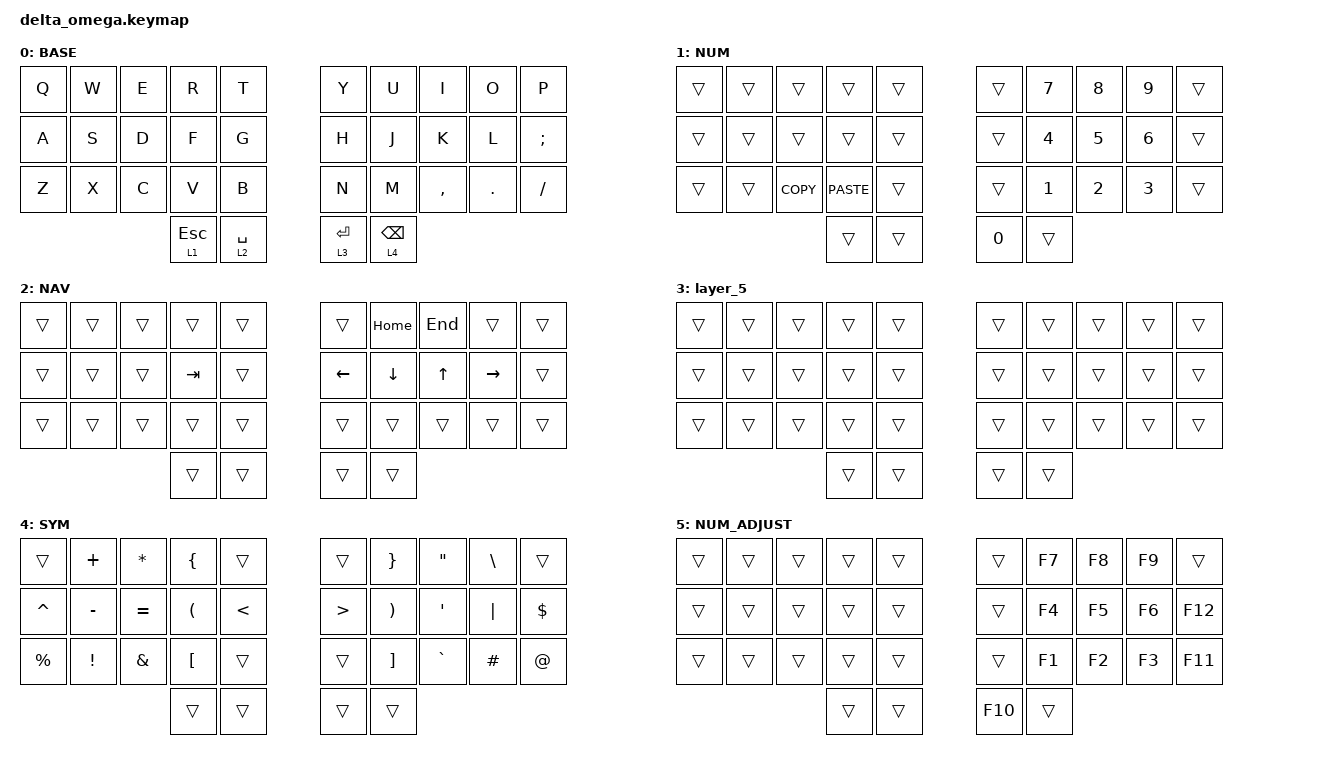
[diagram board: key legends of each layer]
#include <behaviors.dtsi>
#include <dt-bindings/zmk/keys.h>

/ {
    keymap {
        compatible = "zmk,keymap";

        BASE {
            bindings = <
&kp Q  &kp W  &kp E  &kp R         &kp T        &kp Y        &kp U            &kp I      &kp O    &kp P
&kp A  &kp S  &kp D  &kp F         &kp G        &kp H        &kp J            &kp K      &kp L    &kp SEMI
&kp Z  &kp X  &kp C  &kp V         &kp B        &kp N        &kp M            &kp COMMA  &kp DOT  &kp SLASH
                     &lt 1 ESCAPE  &lt 2 SPACE  &lt 3 ENTER  &lt 4 BACKSPACE
            >;
        };

        NUM {
            bindings = <
&trans  &trans  &trans      &trans       &trans  &trans  &kp N7        &kp N8        &kp N9        &trans
&trans  &trans  &trans      &trans       &trans  &trans  &kp NUMBER_4  &kp N5        &kp NUMBER_6  &trans
&trans  &trans  &kp K_COPY  &kp K_PASTE  &trans  &trans  &kp NUMBER_1  &kp NUMBER_2  &kp NUMBER_3  &trans
                            &trans       &trans  &kp N0  &trans
            >;
        };

        NAV {
            bindings = <
&trans  &trans  &trans  &trans   &trans  &trans    &kp HOME  &kp END       &trans     &trans
&trans  &trans  &trans  &kp TAB  &trans  &kp LEFT  &kp DOWN  &kp UP_ARROW  &kp RIGHT  &trans
&trans  &trans  &trans  &trans   &trans  &trans    &trans    &trans        &trans     &trans
                        &trans   &trans  &trans    &trans
            >;
        };

        layer_5 {
            bindings = <
&trans  &trans  &trans  &trans  &trans  &trans  &trans  &trans  &trans  &trans
&trans  &trans  &trans  &trans  &trans  &trans  &trans  &trans  &trans  &trans
&trans  &trans  &trans  &trans  &trans  &trans  &trans  &trans  &trans  &trans
                        &trans  &trans  &trans  &trans
            >;
        };

        SYM {
            bindings = <
&trans       &kp PLUS   &kp ASTRK  &kp LEFT_BRACE        &trans  &trans  &kp RIGHT_BRACE        &kp DOUBLE_QUOTES  &kp BACKSLASH  &trans
&kp CARET    &kp MINUS  &kp EQUAL  &kp LEFT_PARENTHESIS  &kp LT  &kp GT  &kp RIGHT_PARENTHESIS  &kp APOS           &kp PIPE       &kp DOLLAR
&kp PERCENT  &kp EXCL   &kp AMPS   &kp LEFT_BRACKET      &trans  &trans  &kp RIGHT_BRACKET      &kp GRAVE          &kp HASH       &kp AT
                                   &trans                &trans  &trans  &trans
            >;
        };

        NUM_ADJUST {
            bindings = <
&trans  &trans  &trans  &trans  &trans  &trans   &kp F7  &kp F8  &kp F9  &trans
&trans  &trans  &trans  &trans  &trans  &trans   &kp F4  &kp F5  &kp F6  &kp F12
&trans  &trans  &trans  &trans  &trans  &trans   &kp F1  &kp F2  &kp F3  &kp F11
                        &trans  &trans  &kp F10  &trans
            >;
        };
    };

    conditional_layers {
        compatible = "zmk,conditional-layers";

        num_adjust {
            if-layers = <1 4>;
            then-layer = <5>;
        };
    };
};
